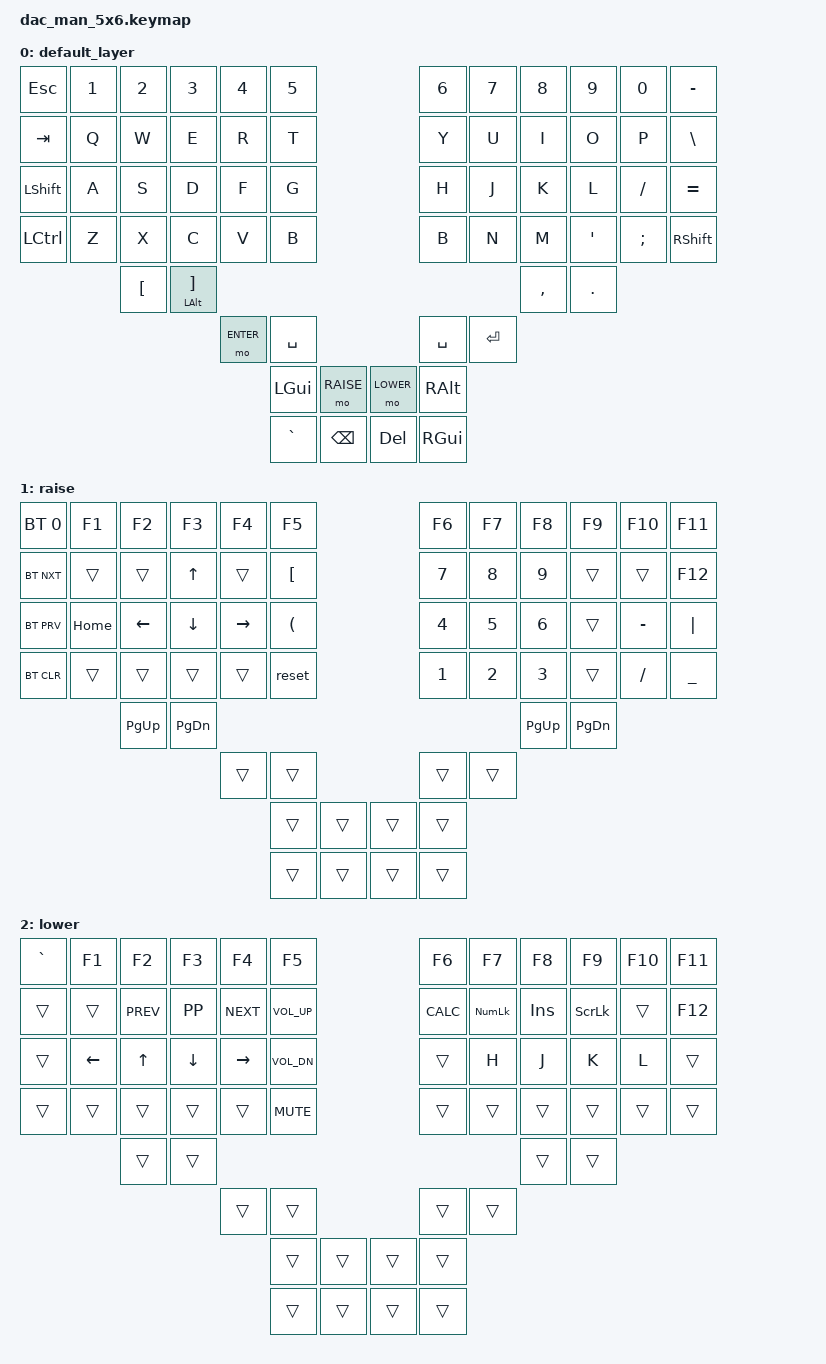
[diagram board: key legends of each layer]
#include <behaviors.dtsi>
#include <dt-bindings/zmk/keys.h>
#include <dt-bindings/zmk/bt.h>

#define DEFAULT 0
#define RAISE   1
#define LOWER   2

/ {
    keymap {
        compatible = "zmk,keymap";

        default_layer {
// Commented layout is not actual layout.
// -------------------------------------------------------------------------------------------------------------------------
// |   ESC   |    1    |    2    |    3    |    4    |    5    |                   |    6    |    7    |    8    |    9    |    0    |    -    |
// |   TAB   |    Q    |    W    |    E    |    R    |    T    |                   |    Y    |    U    |    I    |    O    |    P    |    \    |
// | LSHIFT  |    A    |    S    |    D    |    F    |    G    |                   |    H    |    J    |    K    |    L    |    /    |    =    |
// |  LCTRL  |    Z    |    X    |    C    |    V    |    B    |                   |    B    |    N    |    M    |    '    |    ;    |  RSHIFT |
//                     |    [    |    ]    |                                                           |    ,    |    .    |
//                                         | MO lay 1| SPACE   |                   | ENTER   | MO lay 2|
//                                                   |   TAB   |   HOME  |   END   |   DEL   |
//                                                   |  Raise  |    ~    |   GUI   |  Lower  |
            bindings = <
&kp ESC      &kp N1     &kp N2    &kp N3     &kp N4     &kp N5                          &kp N6     &kp N7     &kp N8     &kp N9     &kp N0      &kp MINUS
&kp TAB      &kp Q      &kp W     &kp E      &kp R      &kp T                           &kp Y      &kp U      &kp I      &kp O      &kp P       &kp BSLH
&kp LSHIFT   &kp A      &kp S     &kp D      &kp F      &kp G                           &kp H      &kp J      &kp K      &kp L      &kp FSLH    &kp EQUAL
&kp LCTRL    &kp Z      &kp X     &kp C      &kp V      &kp B                           &kp B      &kp N      &kp M      &kp SQT    &kp SEMI    &kp RSHIFT    
                      &kp LBKT  &mt LALT RBKT                                                                 &kp COMMA  &kp DOT
                                          &mo ENTER  &kp SPACE                         &kp SPACE   &kp ENTER
                                                    &kp LGUI   &mo RAISE    &mo LOWER   &kp RALT
                                                    &kp GRAVE  &kp BSPC     &kp DEL     &kp RGUI
            >;
        };

        raise {
          // commented layout is not actual layout.
          // -------------------------------------------------------------------------------------------------------------------------
          // |   esc   |    1    |    2    |    3    |    4    |    5    |                   |    6    |    7    |    8    |    9    |    0    |  bspc   |
          // |   tab   |    q    |    w    |    e    |    r    |    t    |                   |    y    |    u    |    i    |    o    |    p    |    \    |
          // |  lalt   |    a    |    s    |    d    |    f    |    g    |                   |    h    |    j    |    k    |    l    |    ;    |    '    |
          // |  lctrl  |    z    |    x    |    c    |    v    |    b    |                   |    n    |    m    |    ,    |    .    |    /    |  ralt   |
          //                     |    [    |    ]    |                                                           |    -    |    =    |
          //                               | mo lay 1| space   |                   | enter   | mo lay 2|
          //                                         |   tab   |   home  |   end   |   del   |
          //                                         |  raise  |    ~    |   gui   |  lower  |
        bindings = <
          &bt BT_SEL 0 &kp F1     &kp F2    &kp F3     &kp F4     &kp F5                          &kp F6     &kp F7     &kp F8  &kp F9     &kp F10        &kp F11
          &bt BT_NXT   &trans     &trans    &kp UP     &trans     &kp LBKT                        &kp 7      &kp 8      &kp 9   &trans     &trans         &kp F12
          &bt BT_PRV   &kp HOME   &kp LEFT  &kp DOWN   &kp RIGHT  &kp LPAR                        &kp 4      &kp 5      &kp 6   &trans     &kp MINUS      &kp PIPE
          &bt BT_CLR   &trans     &trans    &trans     &trans     &reset                          &kp 1      &kp 2      &kp 3   &trans     &kp FSLH       &kp UNDER
                                  &kp PG_UP    &kp PG_DN                                                                &kp PG_UP    &kp PG_DN
                                                      &trans     &trans                          &trans        &trans
                                                                  &trans &trans            &trans &trans
                                                                  &trans &trans            &trans &trans
                      >;
        };

        lower {
// commented layout is not actual layout.
// -------------------------------------------------------------------------------------------------------------------------
// |   esc   |    1    |    2    |    3    |    4    |    5    |                   |    6    |    7    |    8    |    9    |    0    |  bspc   |
// |   tab   |    q    |    w    |    e    |    r    |    t    |                   |    y    |    u    |    i    |    o    |    p    |    \    |
// |  lalt   |    a    |    s    |    d    |    f    |    g    |                   |    h    |    j    |    k    |    l    |    ;    |    '    |
// |  lctrl  |    z    |    x    |    c    |    v    |    b    |                   |    n    |    m    |    ,    |    .    |    /    |  ralt   |
//                     |    [    |    ]    |                                                           |    -    |    =    |
//                               | mo lay 1| space   |                   | enter   | mo lay 2|
//                                         |   tab   |   home  |   end   |   del   |
//                                         |  raise  |    ~    |   gui   |  lower  |
            bindings = <
&kp GRAVE  &kp F1     &kp F2     &kp F3     &kp F4     &kp F5                          &kp F6     &kp F7     &kp F8     &kp F9     &kp F10     &kp F11
&trans     &trans     &kp K_PREV &kp K_PP   &kp K_NEXT &kp C_VOL_UP                    &kp K_CALC &kp KP_NUM &kp INS    &kp SLCK   &trans      &kp F12
&trans     &kp LEFT   &kp UP     &kp DOWN   &kp RIGHT  &kp C_VOL_DN                    &trans     &kp H      &kp J      &kp K      &kp L       &trans
&trans     &trans     &trans     &trans     &trans     &kp C_MUTE                      &trans     &trans     &trans     &trans     &trans      &trans
                      &trans  &trans                                                              &trans     &trans
                                             &trans  &trans                 &trans   &trans
                                                      &trans &trans   &trans    &trans
                                                      &trans &trans   &trans    &trans
            >;
        };
   };
};
